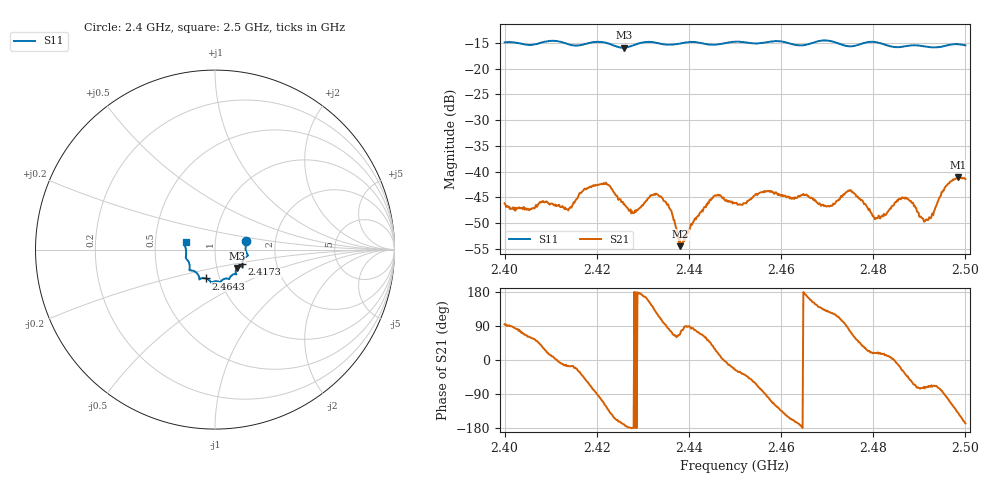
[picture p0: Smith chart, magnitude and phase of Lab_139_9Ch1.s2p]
# Hz S RI R 50
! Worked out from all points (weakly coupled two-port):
!   601 points, 2.4 GHz to 2.5 GHz, reference 50 ohm
!   highest |S21| = -41.09 dB at 2.4985 GHz (marker M1); lowest = -54.5 dB at 2.4382 GHz (marker M2)
!   lowest |S11| = -15.9 dB at 2.4258 GHz (marker M3), VSWR 1.38, Z = 62.3 - j13.3 ohm
!   |S11| at or under -10 dB: start of sweep to end of sweep
!   S12 and S22 are empty: the file has one direction only
!   S11 on the Smith chart (normalised r, x): 2.4 GHz: 1.41, +0.15; 2.4173 GHz: 1.34, -0.23; 2.4643 GHz: 0.86, -0.28; 2.5 GHz: 0.72, +0.06
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2.4e9  0.1733 0.0498  -0.000368 0.00492  0 0  0 0
2.4135e9  0.1694 -0.0431  0.00414 -0.00122  0 0  0 0
2.416667e9  0.1528 -0.0746  0.00491 -0.00392  0 0  0 0
2.417333e9  0.1522 -0.082  0.00458 -0.00511  0 0  0 0
2.422e9  0.1516 -0.0942  -0.00414 -0.00666  0 0  0 0
2.425833e9  0.1216 -0.104  -0.00474 -0.000859  0 0  0 0
2.428e9  0.1149 -0.124  -0.00397 -4.89e-05  0 0  0 0
2.433333e9  0.1126 -0.1365  -0.0027 0.0053  0 0  0 0
2.435833e9  0.0954 -0.1418  0.000903 0.00428  0 0  0 0
2.438167e9  0.0827 -0.1556  0.000606 0.00179  0 0  0 0
2.4455e9  0.0515 -0.1633  0.00502 0.00295  0 0  0 0
2.45e9  0.0295 -0.1809  0.00447 -0.00217  0 0  0 0
2.464333e9  -0.0504 -0.1608  -0.00588 -0.000686  0 0  0 0
2.466667e9  -0.0765 -0.16  -0.0051 0.00233  0 0  0 0
2.470667e9  -0.0869 -0.1643  -0.0027 0.00378  0 0  0 0
2.475e9  -0.1064 -0.1261  0.00159 0.0064  0 0  0 0
2.480333e9  -0.1427 -0.1128  0.00327 0.00111  0 0  0 0
2.483333e9  -0.1408 -0.0896  0.00412 0.000776  0 0  0 0
2.487e9  -0.1558 -0.0565  0.00442 -0.00347  0 0  0 0
2.4915e9  -0.1611 -0.0301  0.00112 -0.00325  0 0  0 0
2.4985e9  -0.1698 0.0336  -0.00684 -0.00558  0 0  0 0
2.5e9  -0.1636 0.0414  -0.00826 -0.00186  0 0  0 0
